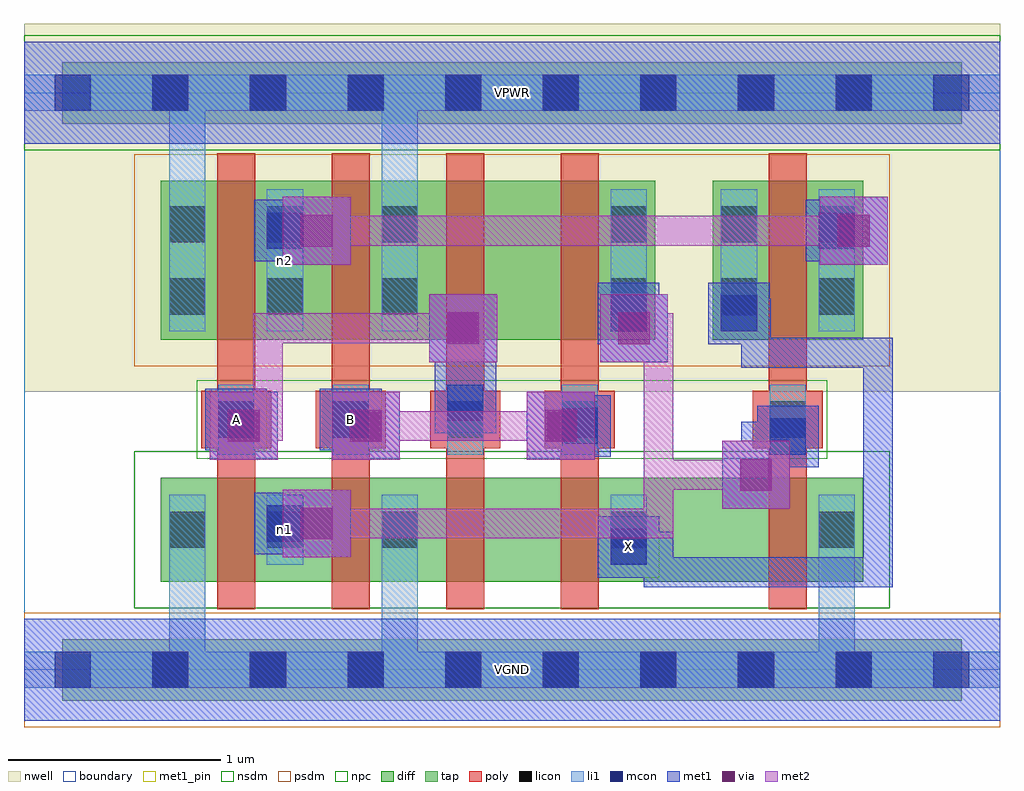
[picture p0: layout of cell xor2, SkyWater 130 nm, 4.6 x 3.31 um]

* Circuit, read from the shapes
.subckt xor2 A B VGND VPWR X n1 n2
XM1 n1 A VGND VGND sky130_fd_pr__nfet_01v8 w=0.49 l=0.18
XM2 VGND B n1 VGND sky130_fd_pr__nfet_01v8 w=0.49 l=0.18
XM3 n3 A VGND VGND sky130_fd_pr__nfet_01v8 w=0.49 l=0.18
XM4 X B n3 VGND sky130_fd_pr__nfet_01v8 w=0.49 l=0.18
XM5 VGND n1 X VGND sky130_fd_pr__nfet_01v8 w=0.49 l=0.18
XM6 n2 A VPWR VPWR sky130_fd_pr__pfet_01v8 w=0.75 l=0.18
XM7 VPWR B n2 VPWR sky130_fd_pr__pfet_01v8 w=0.75 l=0.18
XM8 n4 A VPWR VPWR sky130_fd_pr__pfet_01v8 w=0.75 l=0.18
XM9 n1 B n4 VPWR sky130_fd_pr__pfet_01v8 w=0.75 l=0.18
XM10 n2 n1 X VPWR sky130_fd_pr__pfet_01v8 w=0.75 l=0.18
.ends

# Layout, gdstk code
import gdstk
lib = gdstk.Library(unit=1e-6, precision=1e-09)
def R(c, l, rs):  # rectangles x0, y0, x1, y1
    for r in rs: c.add(gdstk.rectangle(r[:2], r[2:], *l))
def A(c, l, x, y, w, h, nx, ny, dx, dy):  # array of equal rectangles
    R(c, l, [(x+i*dx, y+j*dy, x+i*dx+w, y+j*dy+h) for i in range(nx) for j in range(ny)])
nwell = (64, 20)
diff = (65, 20)
tap = (65, 44)
poly = (66, 20)
licon = (66, 44)
li1 = (67, 20)
mcon = (67, 44)
met1_pin = (68, 16)
met1 = (68, 20)
via = (68, 44)
met2 = (69, 20)
nsdm = (93, 44)
psdm = (94, 20)
npc = (95, 20)
boundary = (235, 4)

xor2 = lib.new_cell('xor2')
R(xor2, nwell, [(0,1.31,4.6,3.045)])
R(xor2, diff, [(0.645,0.415,3.955,0.905), (0.645,1.555,2.975,2.305), (3.245,1.555,3.955,2.305)])
R(xor2, tap, [(0.18,-0.145,4.42,0.145), (0.18,2.575,4.42,2.865)])
A(xor2, poly, 0.91, 0.285, 0.18, 2.15, 4, 1, 0.54, 0)
A(xor2, poly, 0.835, 1.045, 0.33, 0.27, 4, 1, 0.54, 0)
R(xor2, poly, [(3.51,0.285,3.69,2.435), (3.435,1.045,3.765,1.315)])
A(xor2, licon, 0.605, -0.085, 0.17, 0.17, 8, 2, 0.46, 2.72)
A(xor2, licon, 0.915, 1.095, 0.17, 0.17, 4, 1, 0.54, 0)
R(xor2, licon, [(0.685,0.575,0.855,0.745), (1.145,0.575,1.315,0.745), (1.685,0.575,1.855,0.745), (2.765,0.575,2.935,0.745), (3.745,0.575,3.915,0.745), (3.515,1.095,3.685,1.265), (0.685,1.675,0.855,1.845), (1.145,1.675,1.315,1.845), (1.685,1.675,1.855,1.845), (2.765,1.675,2.935,1.845), (3.285,1.675,3.455,1.845), (3.745,1.675,3.915,1.845), (0.685,2.015,0.855,2.185), (1.145,2.015,1.315,2.185), (1.685,2.015,1.855,2.185), (2.765,2.015,2.935,2.185), (3.285,2.015,3.455,2.185), (3.745,2.015,3.915,2.185)])
A(xor2, li1, 0.915, 1.015, 0.17, 0.33, 4, 1, 0.54, 0)
R(xor2, li1, [(0,-0.085,4.6,0.085), (0.685,-0.085,0.855,0.825), (1.685,-0.085,1.855,0.825), (3.745,-0.085,3.915,0.825), (0.685,0.495,0.855,0.825), (1.145,0.495,1.315,0.825), (1.685,0.495,1.855,0.825), (2.765,0.495,2.935,0.825), (3.745,0.495,3.915,0.825), (3.515,1.015,3.685,1.345), (0.685,1.595,0.855,2.265), (0.685,1.595,0.855,2.805), (1.145,1.595,1.315,2.265), (1.685,1.595,1.855,2.265), (1.685,1.595,1.855,2.805), (2.765,1.595,2.935,2.265), (3.285,1.595,3.455,2.265), (3.745,1.595,3.915,2.265), (0,2.635,4.6,2.805)])
A(xor2, mcon, 0.145, -0.085, 0.17, 0.17, 10, 2, 0.46, 2.72)
R(xor2, mcon, [(2.765,0.495,2.935,0.665), (1.145,0.605,1.315,0.775), (3.515,1.015,3.685,1.185), (2.535,1.065,2.705,1.235), (0.915,1.095,1.085,1.265), (1.455,1.095,1.625,1.265), (1.995,1.175,2.165,1.345), (2.765,1.595,2.935,1.765), (3.285,1.595,3.455,1.765), (1.145,1.985,1.315,2.155), (3.745,1.985,3.915,2.155)])
R(xor2, met1_pin, [(0,-0.24,4.6,0.24), (2.705,0.435,2.995,0.725), (0.855,1.035,1.145,1.325), (1.395,1.035,1.685,1.325), (0,2.48,4.6,2.96)])
R(xor2, met1, [(0,-0.24,4.6,0.24), (2.92,0.39,3.06,0.65), (2.92,0.39,4.095,0.53), (3.955,0.39,4.095,1.565), (2.705,0.435,2.995,0.725), (2.78,0.51,3.06,0.65), (1.22,0.53,1.54,0.85), (1.085,0.545,1.375,0.835), (1.16,0.62,1.45,0.76), (3.29,0.76,3.61,1.08), (3.38,0.85,3.52,1.17), (3.455,0.955,3.745,1.245), (0.875,0.99,1.195,1.31), (1.45,0.99,1.77,1.31), (2.37,0.99,2.69,1.31), (2.475,1.005,2.765,1.295), (3.38,1.03,3.67,1.17), (0.855,1.035,1.145,1.325), (1.395,1.035,1.685,1.325), (0.965,1.08,1.105,1.22), (1.54,1.08,1.68,1.22), (2.46,1.08,2.69,1.22), (1.935,1.115,2.225,1.405), (2,1.19,2.14,1.45), (2,1.19,2.15,1.33), (2,1.31,2.14,1.68), (2,1.33,2.15,1.45), (1.935,1.405,2.225,1.45), (3.38,1.425,3.52,1.75), (3.38,1.425,4.095,1.565), (1.91,1.45,2.23,1.77), (2.715,1.45,3.035,1.77), (2.705,1.535,2.995,1.825), (3.225,1.535,3.515,1.825), (2.805,1.54,2.945,1.75), (2.78,1.61,2.945,1.75), (3.3,1.61,3.52,1.75), (1.22,1.91,1.54,2.23), (3.75,1.91,4.07,2.23), (1.085,1.925,1.375,2.215), (3.685,1.925,3.975,2.215), (1.16,2,1.45,2.14), (3.76,2,3.98,2.14), (0,2.48,4.6,2.96)])
R(xor2, via, [(1.305,0.615,1.455,0.765), (3.375,0.845,3.525,0.995), (0.96,1.075,1.11,1.225), (1.535,1.075,1.685,1.225), (2.455,1.075,2.605,1.225), (1.995,1.535,2.145,1.685), (2.8,1.535,2.95,1.685), (1.305,1.995,1.455,2.145), (3.835,1.995,3.985,2.145)])
R(xor2, met2, [(1.22,0.53,1.54,0.85), (1.31,0.62,3.06,0.76), (2.92,0.62,3.06,0.99), (3.29,0.76,3.61,1.08), (2.92,0.85,3.52,0.99), (2.92,0.85,3.06,1.68), (0.875,0.99,1.195,1.31), (1.45,0.99,1.77,1.31), (2.37,0.99,2.69,1.31), (0.965,1.08,1.22,1.22), (1.08,1.08,1.22,1.68), (1.54,1.08,2.6,1.22), (1.91,1.45,2.23,1.77), (2.715,1.45,3.035,1.77), (1.08,1.54,2.14,1.68), (2.805,1.54,3.06,1.68), (1.22,1.91,1.54,2.23), (3.75,1.91,4.07,2.23), (1.31,2,3.98,2.14)])
R(xor2, nsdm, [(0.52,0.29,4.08,1.03), (0,2.45,4.6,2.99)])
R(xor2, psdm, [(0,-0.27,4.6,0.27), (0.52,1.43,4.08,2.43)])
R(xor2, npc, [(0.815,0.995,3.785,1.365)])
R(xor2, boundary, [(0,0,4.6,2.72)])
xor2.add(gdstk.Label('n1', (1.23,0.66), layer=67, texttype=5))
xor2.add(gdstk.Label('n2', (1.23,1.93), layer=67, texttype=5))
xor2.add(gdstk.Label('A', (1,1.18), layer=68, texttype=5))
xor2.add(gdstk.Label('B', (1.54,1.18), layer=68, texttype=5))
xor2.add(gdstk.Label('X', (2.85,0.58), layer=68, texttype=5))
xor2.add(gdstk.Label('VPWR', (2.3,2.72), layer=68, texttype=5))
xor2.add(gdstk.Label('VGND', (2.3,0), layer=68, texttype=5))
xor2.add(gdstk.Label('A', (1,1.18), layer=68, texttype=16))
xor2.add(gdstk.Label('B', (1.54,1.18), layer=68, texttype=16))
xor2.add(gdstk.Label('X', (2.85,0.58), layer=68, texttype=16))
xor2.add(gdstk.Label('VPWR', (2.3,2.72), layer=68, texttype=16))
xor2.add(gdstk.Label('VGND', (2.3,0), layer=68, texttype=16))

lib.write_gds('xor2.gds')
